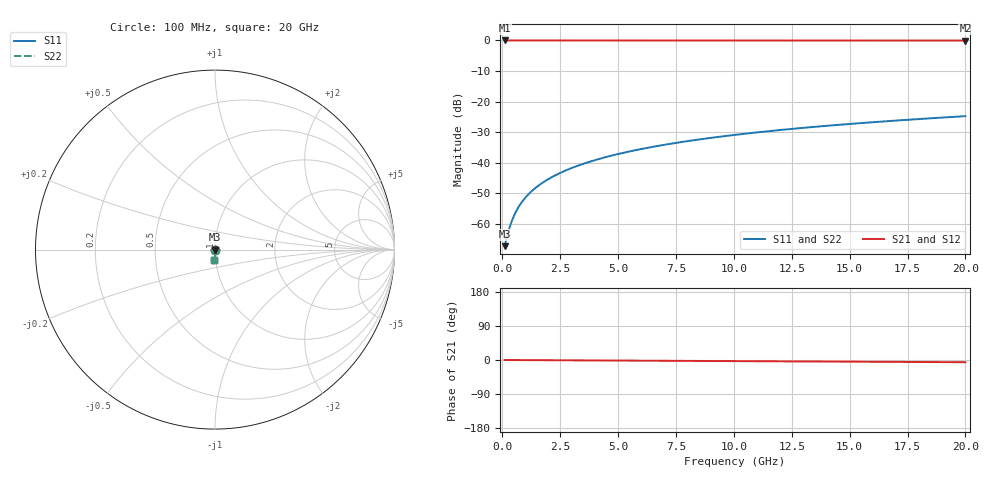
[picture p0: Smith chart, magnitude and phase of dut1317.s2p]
! Touchstone file exported from HFSS 2026.1.0
!  File:  C:/ffzhzh/LocalFiles/Ansys_Project_Files/temp_train_TSV_1317_1783195064_22436.aedt
!  Generated:  03:59:17 AM Jul  5, 2026
!  Design:  TSV
!  Project:  temp_train_TSV_1317_1783195064_22436
! Variables:
!  h_bsmrdl = 2um
!  h_ox = 20um
!  h_rdl = 5um
!  h_sub = 51.28um
!  h_tmrdl = 5um
!  h_tsv = 51.28um
!  h_via = 3um
!  l_bsmrdl = 300um
!  l_sub = 408.46um
!  l_tmrdl = 200um
!  m_sub = 200um
!  pitch = 10.49um
!  r_tsv = 4.23um
!  s_tmrdl = 10um
!  w_bsmrdl = 18um
!  w_sub = 500um
!  w_tmrdl = 12um
!  x_tsv_center1 = 206um
!  x_tsv_center2 = 524um
!  x_tsv_center3 = 736um
!  x_tsv_center4 = 1054um
!  x_tsv_center5 = 1266um
!  x_tsv_center6 = 1584um
# GHz S MA R 50.000000
! Terminal data exported
! Port[1] = TSV1_1_T1
! Port[2] = TSV1_1_T2
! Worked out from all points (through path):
!   200 points, 100 MHz to 20 GHz, reference 50 ohm
!   highest |S21| = 0.00 dB at 100 MHz (marker M1); lowest = 0.0 dB at 20 GHz (marker M2)
!   lowest |S11| = -67.2 dB at 100 MHz (marker M3), VSWR 1.00, Z = 50 - j0.0224 ohm
!   |S11| at or under -10 dB: start of sweep to end of sweep
!   |S22| runs from -67.2 to -24.7 dB; largest |S21 - S12| = 6.3e-15
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0.1  0.0004348 -31.0  0.9996 -0.0  0.9996 -0.0  0.0004348 -31.0
! Gamma 0 0 0 0
! Port Impedance 50 0 50 0
0.2  0.0006141 -49.0  0.9996 -0.1  0.9996 -0.1  0.0006141 -49.0
0.3  0.0008424 -58.9  0.9996 -0.1  0.9996 -0.1  0.0008424 -58.9
0.4  0.001094 -64.9  0.9995 -0.1  0.9995 -0.1  0.001094 -64.9
0.5  0.001355 -69.0  0.9995 -0.2  0.9995 -0.2  0.001355 -69.0
0.6  0.001623 -72.0  0.9995 -0.2  0.9995 -0.2  0.001623 -72.0
0.8  0.002164 -75.9  0.9995 -0.2  0.9995 -0.2  0.002164 -75.9
1.1  0.002982 -79.4  0.9994 -0.3  0.9994 -0.3  0.002982 -79.4
1.5  0.004078 -81.9  0.9994 -0.5  0.9994 -0.5  0.004078 -81.9
1.8  0.004903 -83.1  0.9993 -0.5  0.9993 -0.5  0.004903 -83.1
2.1  0.005732 -83.9  0.9993 -0.6  0.9993 -0.6  0.005732 -83.9
2.7  0.0074 -85.0  0.9992 -0.8  0.9992 -0.8  0.0074 -85.0
3.5  0.009647 -85.9  0.9991 -1.1  0.9991 -1.1  0.009647 -85.9
4.2  0.01163 -86.5  0.999 -1.3  0.999 -1.3  0.01163 -86.5
5  0.01393 -87.1  0.9988 -1.5  0.9988 -1.5  0.01393 -87.1
5.9  0.01653 -87.6  0.9987 -1.8  0.9987 -1.8  0.01653 -87.6
6.8  0.01914 -88.1  0.9985 -2.0  0.9985 -2.0  0.01914 -88.1
8.3  0.02352 -88.8  0.9982 -2.5  0.9982 -2.5  0.02352 -88.8
10.1  0.0288 -89.7  0.9979 -3.0  0.9979 -3.0  0.0288 -89.7
13.4  0.0385 -91.1  0.9973 -3.9  0.9973 -3.9  0.0385 -91.1
16.7  0.04819 -92.3  0.9967 -4.9  0.9967 -4.9  0.04819 -92.3
20  0.05788 -93.5  0.9959 -5.8  0.9959 -5.8  0.05788 -93.5
